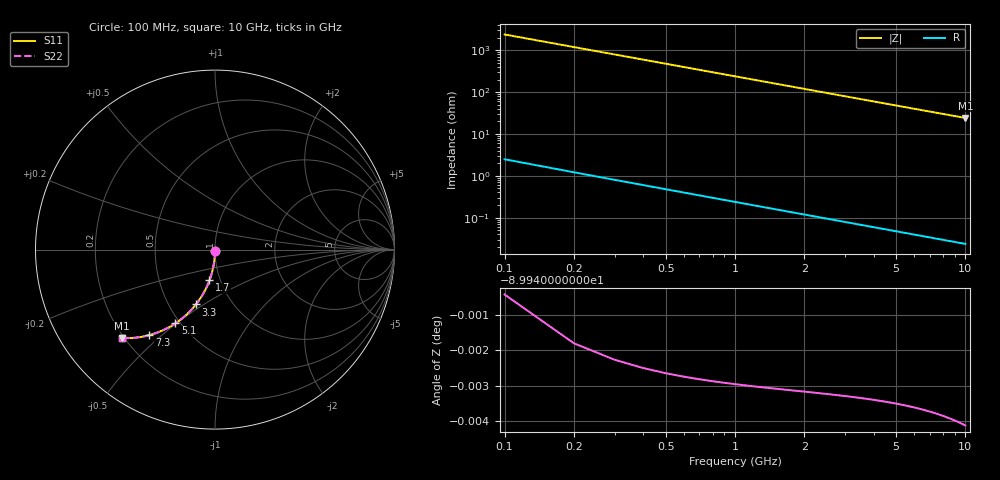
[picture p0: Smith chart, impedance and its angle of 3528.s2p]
# Hz S RI R 50.00
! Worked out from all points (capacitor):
!   100 points, 100 MHz to 10 GHz, reference 50 ohm
!   read as one part in shunt: C = 665 fF near 100 MHz
!   lowest |Z| = 24.2 ohm at 10 GHz (marker M1)
!   S11 on the Smith chart (normalised r, x): 100 MHz: 1.00, -0.02; 1.7 GHz: 0.89, -0.31; 3.3 GHz: 0.68, -0.46; 5.1 GHz: 0.47, -0.50; 7.3 GHz: 0.30, -0.46; 10 GHz: 0.19, -0.39
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1e8  -0.000102 -0.0104  0.9999 -0.0105  0.9999 -0.0105  -0.000102 -0.0104
2e8  -0.000439 -0.0208  0.9995 -0.021  0.9995 -0.021  -0.000439 -0.0208
3e8  -0.000994 -0.0311  0.999 -0.0315  0.999 -0.0315  -0.000994 -0.0311
4e8  -0.00177 -0.0415  0.9982 -0.042  0.9982 -0.042  -0.00177 -0.0415
5e8  -0.00275 -0.0518  0.9972 -0.0524  0.9972 -0.0524  -0.00275 -0.0518
6e8  -0.00396 -0.062  0.996 -0.0628  0.996 -0.0628  -0.00396 -0.062
8e8  -0.007 -0.0825  0.993 -0.0835  0.993 -0.0835  -0.007 -0.0825
9e8  -0.00883 -0.0926  0.9911 -0.0937  0.9911 -0.0937  -0.00883 -0.0926
1.1e9  -0.0131 -0.1127  0.9868 -0.1141  0.9868 -0.1141  -0.0131 -0.1127
1.4e9  -0.021 -0.1422  0.9789 -0.144  0.9789 -0.144  -0.021 -0.1422
1.7e9  -0.0307 -0.1709  0.9693 -0.1731  0.9693 -0.1731  -0.0307 -0.1709
1.8e9  -0.0343 -0.1803  0.9657 -0.1826  0.9657 -0.1826  -0.0343 -0.1803
2.1e9  -0.046 -0.2078  0.9539 -0.2104  0.9539 -0.2104  -0.046 -0.2078
2.5e9  -0.0639 -0.2426  0.936 -0.2458  0.936 -0.2458  -0.0639 -0.2426
3.3e9  -0.1062 -0.3055  0.8937 -0.3097  0.8937 -0.3097  -0.1062 -0.3055
3.4e9  -0.112 -0.3127  0.888 -0.3171  0.888 -0.3171  -0.112 -0.3127
4.2e9  -0.1612 -0.3646  0.8387 -0.3699  0.8387 -0.3699  -0.1612 -0.3646
5.1e9  -0.2206 -0.4109  0.7794 -0.4174  0.7794 -0.4174  -0.2206 -0.4109
6.7e9  -0.3277 -0.4646  0.6722 -0.4732  0.6722 -0.4732  -0.3277 -0.4646
7.3e9  -0.3664 -0.4766  0.6335 -0.4861  0.6335 -0.4861  -0.3664 -0.4766
8.4e9  -0.4334 -0.4896  0.5665 -0.5005  0.5665 -0.5005  -0.4334 -0.4896
1e10  -0.5199 -0.4926  0.48 -0.5056  0.48 -0.5056  -0.5199 -0.4926
